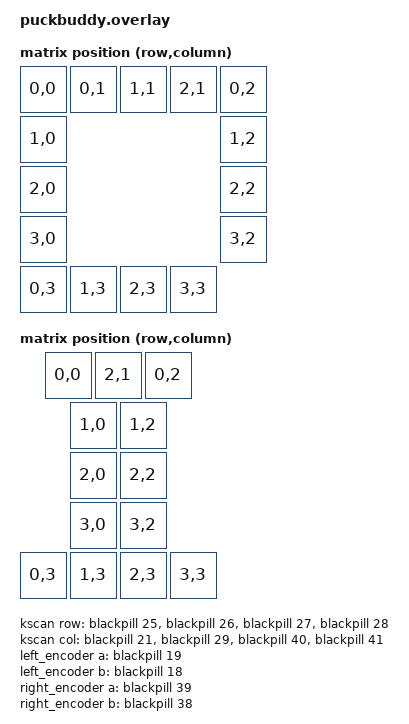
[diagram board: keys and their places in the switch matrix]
/*
 * Copyright (c) 2024 The ZMK Contributors
 *
 * SPDX-License-Identifier: MIT
 */

#include <dt-bindings/zmk/matrix_transform.h>
#include <input/processors.dtsi>
#include <dt-bindings/zmk/input_transform.h>

#include "puckbuddy-layouts.dtsi"

/ {
    chosen {
        zephyr,display = &oled;
        zmk,kscan = &kscan;
    };

    kscan: kscan {
        compatible = "zmk,kscan-gpio-matrix";
        wakeup-source;
        diode-direction = "col2row";
        col-gpios
            = <&blackpill 21 GPIO_ACTIVE_HIGH>
            , <&blackpill 29 GPIO_ACTIVE_HIGH>
            , <&blackpill 40 GPIO_ACTIVE_HIGH>
            , <&blackpill 41 GPIO_ACTIVE_HIGH>
            ;
        row-gpios
            = <&blackpill 25 (GPIO_ACTIVE_HIGH | GPIO_PULL_DOWN)>
            , <&blackpill 26 (GPIO_ACTIVE_HIGH | GPIO_PULL_DOWN)>
            , <&blackpill 27 (GPIO_ACTIVE_HIGH | GPIO_PULL_DOWN)>
            , <&blackpill 28 (GPIO_ACTIVE_HIGH | GPIO_PULL_DOWN)>
            ;
    };

    default_transform: default_transform {
        compatible = "zmk,matrix-transform";
        columns = <4>;
        rows = <4>;
        map = <
          RC(0,0)  RC(0,1)  RC(1,1)  RC(2,1)  RC(0,2)
          RC(1,0)                             RC(1,2)
          RC(2,0)                             RC(2,2)
          RC(3,0)                             RC(3,2)
              RC(0,3)  RC(1,3)  RC(2,3)  RC(3,3)
        >;
    };

    oled_transform: oled_transform {
        compatible = "zmk,matrix-transform";
        columns = <4>;
        rows = <4>;
        map = <
          RC(0,0)                    RC(2,1)  RC(0,2)
          RC(1,0)                             RC(1,2)
          RC(2,0)                             RC(2,2)
          RC(3,0)                             RC(3,2)
              RC(0,3)  RC(1,3)  RC(2,3)  RC(3,3)
        >;
    };

    left_encoder: left_encoder {
        compatible = "alps,ec11";
        a-gpios = <&blackpill 19 (GPIO_ACTIVE_LOW | GPIO_PULL_UP)>;
        b-gpios = <&blackpill 18 (GPIO_ACTIVE_LOW | GPIO_PULL_UP)>;
        steps = <80>;
    };

    right_encoder: right_encoder {
        compatible = "alps,ec11";
        a-gpios = <&blackpill 39 (GPIO_ACTIVE_LOW | GPIO_PULL_UP)>;
        b-gpios = <&blackpill 38 (GPIO_ACTIVE_LOW | GPIO_PULL_UP)>;
        steps = <80>;
    };

    sensors: sensors {
        compatible = "zmk,keymap-sensors";
        sensors = <&left_encoder &right_encoder>;
        triggers-per-rotation = <20>;
    };

    cirque_input_listener: cirque_input_listener {
        compatible = "zmk,input-listener";
        device = <&cirque>;

        input-processors = <&zip_xy_transform INPUT_TRANSFORM_Y_INVERT>;
    };
};

&blackpill_spi {
    status = "okay";

    cirque: pinnacle@0 {
        compatible = "cirque,pinnacle";
        reg = <0>;
        spi-max-frequency = <8000000>;
        sleep;
        dr-gpios = <&blackpill 12 GPIO_ACTIVE_HIGH>;
        sensitivity = "1x";
    };
};

&blackpill_i2c {
    status = "okay";
    clock-frequency = <I2C_BITRATE_FAST>;

    oled: ssd1306@3c {
        compatible = "solomon,ssd1306fb";
        reg = <0x3c>;
        width = <128>;
        height = <32>;
        segment-offset = <0>;
        page-offset = <0>;
        display-offset = <0>;
        multiplex-ratio = <31>;
        segment-remap;
        com-invdir;
        com-sequential;
        inversion-on;
        prechargep = <0x22>;
    };
};
